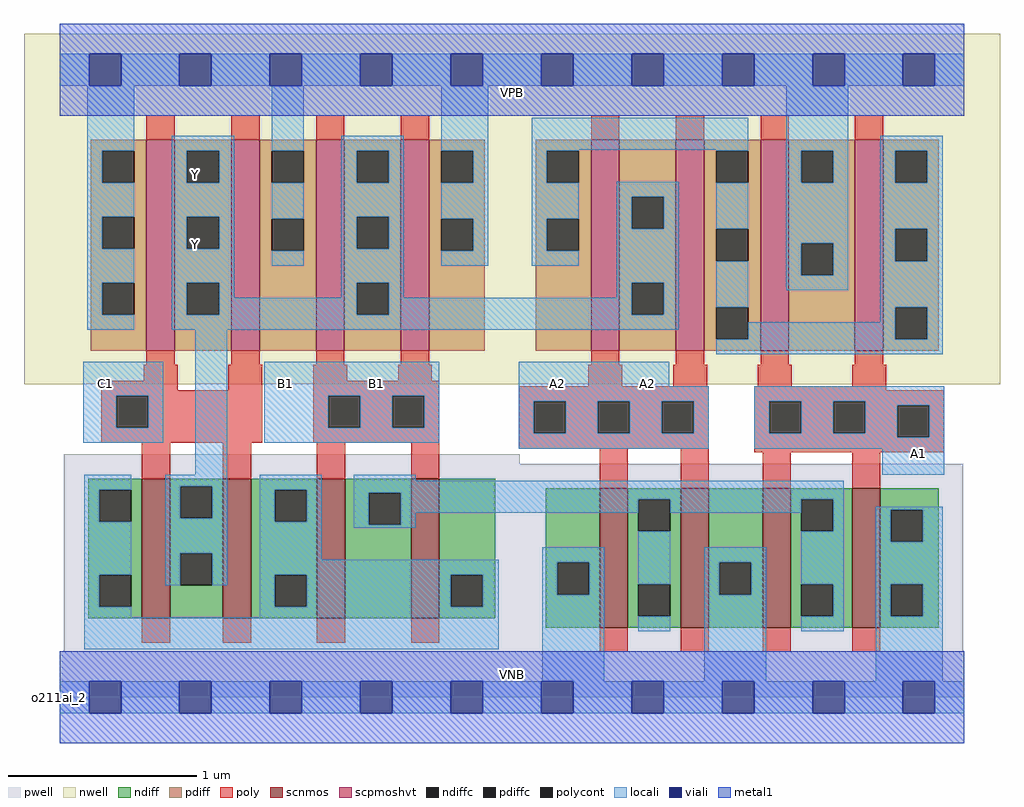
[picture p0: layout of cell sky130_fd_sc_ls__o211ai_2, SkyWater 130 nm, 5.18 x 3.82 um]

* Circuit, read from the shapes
.subckt sky130_fd_sc_ls__o211ai_2 A1 A2 B1 C1 VGND VNB VPB VPWR Y
XM1 Y C1 n1 VNB sky130_fd_pr__nfet_01v8 w=0.74 l=0.15 m=2
XM2 n2 B1 n1 VNB sky130_fd_pr__nfet_01v8 w=0.74 l=0.15 m=2
XM3 n2 A2 VGND VNB sky130_fd_pr__nfet_01v8 w=0.74 l=0.15 m=2
XM4 n2 A1 VGND VNB sky130_fd_pr__nfet_01v8 w=0.74 l=0.15 m=2
XM5 Y C1 VPWR VPB sky130_fd_pr__pfet_01v8_hvt w=1.12 l=0.15 m=2
XM6 Y B1 VPWR VPB sky130_fd_pr__pfet_01v8_hvt w=1.12 l=0.15 m=2
XM7 Y A2 n3 VPB sky130_fd_pr__pfet_01v8_hvt w=1.12 l=0.15 m=2
XM8 VPWR A1 n3 VPB sky130_fd_pr__pfet_01v8_hvt w=1.12 l=0.15 m=2
.ends

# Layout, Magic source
magic
tech sky130A
magscale 1 2
<< nwell >>
rect -38 332 998 704
<< pwell >>
rect 4 248 488 258
rect 4 49 959 248
rect 0 0 960 49
<< scnmos >>
rect 87 84 117 232
rect 173 84 203 232
rect 273 84 303 232
rect 373 84 403 232
rect 573 74 603 222
rect 659 74 689 222
rect 746 74 776 222
rect 841 74 871 222
<< scpmoshvt >>
rect 92 368 122 592
rect 182 368 212 592
rect 272 368 302 592
rect 362 368 392 592
rect 564 368 594 592
rect 654 368 684 592
rect 744 368 774 592
rect 844 368 874 592
<< ndiff >>
rect 30 220 87 232
rect 30 186 42 220
rect 76 186 87 220
rect 30 130 87 186
rect 30 96 42 130
rect 76 96 87 130
rect 30 84 87 96
rect 117 224 173 232
rect 117 190 128 224
rect 162 190 173 224
rect 117 153 173 190
rect 117 119 128 153
rect 162 119 173 153
rect 117 84 173 119
rect 203 220 273 232
rect 203 186 228 220
rect 262 186 273 220
rect 203 130 273 186
rect 203 96 228 130
rect 262 96 273 130
rect 203 84 273 96
rect 303 217 373 232
rect 303 183 328 217
rect 362 183 373 217
rect 303 84 373 183
rect 403 130 462 232
rect 403 96 415 130
rect 449 96 462 130
rect 403 84 462 96
rect 516 143 573 222
rect 516 109 528 143
rect 562 109 573 143
rect 516 74 573 109
rect 603 210 659 222
rect 603 176 614 210
rect 648 176 659 210
rect 603 120 659 176
rect 603 86 614 120
rect 648 86 659 120
rect 603 74 659 86
rect 689 143 746 222
rect 689 109 700 143
rect 734 109 746 143
rect 689 74 746 109
rect 776 210 841 222
rect 776 176 787 210
rect 821 176 841 210
rect 776 120 841 176
rect 776 86 787 120
rect 821 86 841 120
rect 776 74 841 86
rect 871 199 933 222
rect 871 165 882 199
rect 916 165 933 199
rect 871 120 933 165
rect 871 86 882 120
rect 916 86 933 120
rect 871 74 933 86
<< pdiff >>
rect 33 580 92 592
rect 33 546 45 580
rect 79 546 92 580
rect 33 510 92 546
rect 33 476 45 510
rect 79 476 92 510
rect 33 440 92 476
rect 33 406 45 440
rect 79 406 92 440
rect 33 368 92 406
rect 122 580 182 592
rect 122 546 135 580
rect 169 546 182 580
rect 122 510 182 546
rect 122 476 135 510
rect 169 476 182 510
rect 122 440 182 476
rect 122 406 135 440
rect 169 406 182 440
rect 122 368 182 406
rect 212 580 272 592
rect 212 546 225 580
rect 259 546 272 580
rect 212 508 272 546
rect 212 474 225 508
rect 259 474 272 508
rect 212 368 272 474
rect 302 580 362 592
rect 302 546 315 580
rect 349 546 362 580
rect 302 510 362 546
rect 302 476 315 510
rect 349 476 362 510
rect 302 440 362 476
rect 302 406 315 440
rect 349 406 362 440
rect 302 368 362 406
rect 392 580 451 592
rect 392 546 405 580
rect 439 546 451 580
rect 392 508 451 546
rect 392 474 405 508
rect 439 474 451 508
rect 392 368 451 474
rect 505 580 564 592
rect 505 546 517 580
rect 551 546 564 580
rect 505 508 564 546
rect 505 474 517 508
rect 551 474 564 508
rect 505 368 564 474
rect 594 531 654 592
rect 594 497 607 531
rect 641 497 654 531
rect 594 440 654 497
rect 594 406 607 440
rect 641 406 654 440
rect 594 368 654 406
rect 684 580 744 592
rect 684 546 697 580
rect 731 546 744 580
rect 684 497 744 546
rect 684 463 697 497
rect 731 463 744 497
rect 684 414 744 463
rect 684 380 697 414
rect 731 380 744 414
rect 684 368 744 380
rect 774 580 844 592
rect 774 546 787 580
rect 821 546 844 580
rect 774 482 844 546
rect 774 448 787 482
rect 821 448 844 482
rect 774 368 844 448
rect 874 580 933 592
rect 874 546 887 580
rect 921 546 933 580
rect 874 497 933 546
rect 874 463 887 497
rect 921 463 933 497
rect 874 414 933 463
rect 874 380 887 414
rect 921 380 933 414
rect 874 368 933 380
<< ndiffc >>
rect 42 186 76 220
rect 42 96 76 130
rect 128 190 162 224
rect 128 119 162 153
rect 228 186 262 220
rect 228 96 262 130
rect 328 183 362 217
rect 415 96 449 130
rect 528 109 562 143
rect 614 176 648 210
rect 614 86 648 120
rect 700 109 734 143
rect 787 176 821 210
rect 787 86 821 120
rect 882 165 916 199
rect 882 86 916 120
<< pdiffc >>
rect 45 546 79 580
rect 45 476 79 510
rect 45 406 79 440
rect 135 546 169 580
rect 135 476 169 510
rect 135 406 169 440
rect 225 546 259 580
rect 225 474 259 508
rect 315 546 349 580
rect 315 476 349 510
rect 315 406 349 440
rect 405 546 439 580
rect 405 474 439 508
rect 517 546 551 580
rect 517 474 551 508
rect 607 497 641 531
rect 607 406 641 440
rect 697 546 731 580
rect 697 463 731 497
rect 697 380 731 414
rect 787 546 821 580
rect 787 448 821 482
rect 887 546 921 580
rect 887 463 921 497
rect 887 380 921 414
<< poly >>
rect 92 592 122 618
rect 182 592 212 618
rect 272 592 302 618
rect 362 592 392 618
rect 564 592 594 618
rect 654 592 684 618
rect 744 592 774 618
rect 844 592 874 618
rect 92 353 122 368
rect 182 353 212 368
rect 272 353 302 368
rect 362 353 392 368
rect 564 353 594 368
rect 654 353 684 368
rect 744 353 774 368
rect 844 353 874 368
rect 89 336 125 353
rect 44 326 125 336
rect 179 326 215 353
rect 44 320 215 326
rect 44 286 60 320
rect 94 286 215 320
rect 44 270 215 286
rect 269 336 305 353
rect 359 336 395 353
rect 269 320 403 336
rect 561 330 597 353
rect 651 330 687 353
rect 741 330 777 353
rect 841 330 877 353
rect 269 286 285 320
rect 319 286 353 320
rect 387 286 403 320
rect 269 270 403 286
rect 87 232 117 270
rect 173 232 203 270
rect 273 232 303 270
rect 373 232 403 270
rect 487 314 689 330
rect 487 280 503 314
rect 537 280 571 314
rect 605 280 639 314
rect 673 280 689 314
rect 487 264 689 280
rect 573 222 603 264
rect 659 222 689 264
rect 737 326 877 330
rect 737 314 939 326
rect 737 280 753 314
rect 787 280 821 314
rect 855 310 939 314
rect 855 280 889 310
rect 737 276 889 280
rect 923 276 939 310
rect 737 260 939 276
rect 746 222 776 260
rect 841 222 871 260
rect 87 58 117 84
rect 173 58 203 84
rect 273 58 303 84
rect 373 58 403 84
rect 573 48 603 74
rect 659 48 689 74
rect 746 48 776 74
rect 841 48 871 74
<< polycont >>
rect 60 286 94 320
rect 285 286 319 320
rect 353 286 387 320
rect 503 280 537 314
rect 571 280 605 314
rect 639 280 673 314
rect 753 280 787 314
rect 821 280 855 314
rect 889 276 923 310
<< locali >>
rect 0 649 31 683
rect 65 649 127 683
rect 161 649 223 683
rect 257 649 319 683
rect 353 649 415 683
rect 449 649 511 683
rect 545 649 607 683
rect 641 649 703 683
rect 737 649 799 683
rect 833 649 895 683
rect 929 649 960 683
rect 29 580 79 649
rect 29 546 45 580
rect 29 510 79 546
rect 29 476 45 510
rect 29 440 79 476
rect 29 406 45 440
rect 29 390 79 406
rect 119 580 185 596
rect 119 546 135 580
rect 169 546 185 580
rect 119 510 185 546
rect 119 476 135 510
rect 169 476 185 510
rect 119 440 185 476
rect 225 580 259 649
rect 225 508 259 546
rect 225 458 259 474
rect 299 580 365 596
rect 299 546 315 580
rect 349 546 365 580
rect 299 510 365 546
rect 299 476 315 510
rect 349 476 365 510
rect 119 406 135 440
rect 169 424 185 440
rect 299 440 365 476
rect 405 580 455 649
rect 439 546 455 580
rect 405 508 455 546
rect 439 474 455 508
rect 405 458 455 474
rect 501 581 731 615
rect 501 580 551 581
rect 501 546 517 580
rect 697 580 731 581
rect 501 508 551 546
rect 501 474 517 508
rect 501 458 551 474
rect 591 531 657 547
rect 591 497 607 531
rect 641 497 657 531
rect 299 424 315 440
rect 169 406 315 424
rect 349 424 365 440
rect 591 440 657 497
rect 591 424 607 440
rect 349 406 607 424
rect 641 406 657 440
rect 119 390 657 406
rect 697 497 731 546
rect 697 414 731 463
rect 771 580 837 649
rect 771 546 787 580
rect 821 546 837 580
rect 771 482 837 546
rect 771 448 787 482
rect 821 448 837 482
rect 771 432 837 448
rect 871 580 937 596
rect 871 546 887 580
rect 921 546 937 580
rect 871 497 937 546
rect 871 463 887 497
rect 921 463 937 497
rect 25 320 110 356
rect 25 286 60 320
rect 94 286 110 320
rect 25 270 110 286
rect 144 236 178 390
rect 871 414 937 463
rect 871 398 887 414
rect 731 380 887 398
rect 921 380 937 414
rect 697 364 937 380
rect 217 320 403 356
rect 217 286 285 320
rect 319 286 353 320
rect 387 286 403 320
rect 217 270 403 286
rect 487 330 647 356
rect 487 314 689 330
rect 487 280 503 314
rect 537 280 571 314
rect 605 280 639 314
rect 673 280 689 314
rect 487 264 689 280
rect 737 314 939 330
rect 737 280 753 314
rect 787 280 821 314
rect 855 310 939 314
rect 855 280 889 310
rect 737 276 889 280
rect 923 276 939 310
rect 737 264 939 276
rect 873 236 939 264
rect 26 220 76 236
rect 26 186 42 220
rect 26 130 76 186
rect 26 96 42 130
rect 112 224 178 236
rect 112 190 128 224
rect 162 190 178 224
rect 112 153 178 190
rect 112 119 128 153
rect 162 119 178 153
rect 212 220 278 236
rect 212 186 228 220
rect 262 186 278 220
rect 212 146 278 186
rect 312 230 378 236
rect 312 217 832 230
rect 312 183 328 217
rect 362 210 832 217
rect 362 196 614 210
rect 362 183 378 196
rect 312 180 378 183
rect 648 196 787 210
rect 212 130 466 146
rect 26 85 76 96
rect 212 96 228 130
rect 262 96 415 130
rect 449 96 466 130
rect 212 85 466 96
rect 26 51 466 85
rect 512 143 578 159
rect 512 109 528 143
rect 562 109 578 143
rect 512 17 578 109
rect 614 120 648 176
rect 821 176 832 210
rect 614 70 648 86
rect 684 143 750 159
rect 684 109 700 143
rect 734 109 750 143
rect 684 17 750 109
rect 787 120 832 176
rect 821 86 832 120
rect 787 70 832 86
rect 866 199 937 202
rect 866 165 882 199
rect 916 165 937 199
rect 866 120 937 165
rect 866 86 882 120
rect 916 86 937 120
rect 866 17 937 86
rect 0 -17 31 17
rect 65 -17 127 17
rect 161 -17 223 17
rect 257 -17 319 17
rect 353 -17 415 17
rect 449 -17 511 17
rect 545 -17 607 17
rect 641 -17 703 17
rect 737 -17 799 17
rect 833 -17 895 17
rect 929 -17 960 17
<< viali >>
rect 31 649 65 683
rect 127 649 161 683
rect 223 649 257 683
rect 319 649 353 683
rect 415 649 449 683
rect 511 649 545 683
rect 607 649 641 683
rect 703 649 737 683
rect 799 649 833 683
rect 895 649 929 683
rect 31 -17 65 17
rect 127 -17 161 17
rect 223 -17 257 17
rect 319 -17 353 17
rect 415 -17 449 17
rect 511 -17 545 17
rect 607 -17 641 17
rect 703 -17 737 17
rect 799 -17 833 17
rect 895 -17 929 17
<< metal1 >>
rect 0 683 960 715
rect 0 649 31 683
rect 65 649 127 683
rect 161 649 223 683
rect 257 649 319 683
rect 353 649 415 683
rect 449 649 511 683
rect 545 649 607 683
rect 641 649 703 683
rect 737 649 799 683
rect 833 649 895 683
rect 929 649 960 683
rect 0 617 960 649
rect 0 17 960 49
rect 0 -17 31 17
rect 65 -17 127 17
rect 161 -17 223 17
rect 257 -17 319 17
rect 353 -17 415 17
rect 449 -17 511 17
rect 545 -17 607 17
rect 641 -17 703 17
rect 737 -17 799 17
rect 833 -17 895 17
rect 929 -17 960 17
rect 0 -49 960 -17
<< labels >>
rlabel comment s 0 0 0 0 4 o211ai_2
flabel pwell s 0 0 960 49 0 FreeSans 200 0 0 0 VNB
port 6 nsew ground bidirectional
flabel nwell s 0 617 960 666 0 FreeSans 200 0 0 0 VPB
port 7 nsew power bidirectional
flabel metal1 s 0 617 960 666 0 FreeSans 340 0 0 0 VPWR
port 8 nsew power bidirectional abutment
flabel metal1 s 0 0 960 49 0 FreeSans 340 0 0 0 VGND
port 5 nsew ground bidirectional abutment
flabel locali s 31 316 65 350 0 FreeSans 340 0 0 0 C1
port 4 nsew signal input
flabel locali s 223 316 257 350 0 FreeSans 340 0 0 0 B1
port 3 nsew signal input
flabel locali s 319 316 353 350 0 FreeSans 340 0 0 0 B1
port 3 nsew signal input
flabel locali s 511 316 545 350 0 FreeSans 340 0 0 0 A2
port 2 nsew signal input
flabel locali s 607 316 641 350 0 FreeSans 340 0 0 0 A2
port 2 nsew signal input
flabel locali s 895 242 929 276 0 FreeSans 340 0 0 0 A1
port 1 nsew signal input
flabel locali s 127 464 161 498 0 FreeSans 340 0 0 0 Y
port 9 nsew signal output
flabel locali s 127 538 161 572 0 FreeSans 340 0 0 0 Y
port 9 nsew signal output
<< properties >>
string LEFsite unit
string LEFclass CORE
string FIXED_BBOX 0 0 960 666
string GDS_FILE $PDKPATH/libs.ref/sky130_fd_sc_ls/gds/sky130_fd_sc_ls.gds
string LEFsymmetry X Y
string GDS_END 4037960
string GDS_START 4028810
<< end >>
